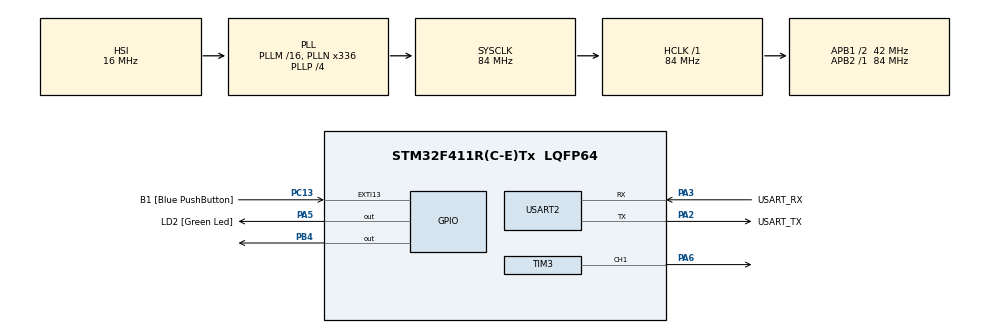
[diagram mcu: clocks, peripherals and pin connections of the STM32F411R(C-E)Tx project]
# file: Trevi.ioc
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Mcu.Family=STM32F4
Mcu.Name=STM32F411R(C-E)Tx
Mcu.Package=LQFP64
NVIC.EXTI15_10_IRQn=true\:0\:0\:false\:false\:true\:true\:true\:true
NVIC.PriorityGroup=NVIC_PRIORITYGROUP_4
NVIC.TIM2_IRQn=true\:0\:0\:false\:false\:true\:true\:true\:true
NVIC.TIM3_IRQn=true\:0\:0\:false\:false\:true\:true\:true\:true
PA13.GPIO_Label=TMS
PA13.Mode=Serial_Wire
PA13.Signal=SYS_JTMS-SWDIO
PA14.GPIO_Label=TCK
PA14.Mode=Serial_Wire
PA14.Signal=SYS_JTCK-SWCLK
PA2.GPIO_Label=USART_TX
PA2.Mode=Asynchronous
PA2.Signal=USART2_TX
PA3.GPIO_Label=USART_RX
PA3.Mode=Asynchronous
PA3.Signal=USART2_RX
PA5.GPIO_Label=LD2 [Green Led]
PA5.Signal=GPIO_Output
PA6.Signal=S_TIM3_CH1
PB3.GPIO_Label=SWO
PB3.Signal=SYS_JTDO-SWO
PB4.Signal=GPIO_Output
PC13-ANTI_TAMP.GPIO_Label=B1 [Blue PushButton]
PC13-ANTI_TAMP.GPIO_ModeDefaultEXTI=GPIO_MODE_IT_FALLING
PC13-ANTI_TAMP.Signal=GPXTI13
PC14-OSC32_IN.Mode=LSE-External-Oscillator
PC14-OSC32_IN.Signal=RCC_OSC32_IN
PC15-OSC32_OUT.Mode=LSE-External-Oscillator
PC15-OSC32_OUT.Signal=RCC_OSC32_OUT
PH0\ -\ OSC_IN.Mode=HSE-External-Clock-Source
PH0\ -\ OSC_IN.Signal=RCC_OSC_IN
PH1\ -\ OSC_OUT.Mode=HSE-External-Clock-Source
PH1\ -\ OSC_OUT.Signal=RCC_OSC_OUT
ProjectManager.HeapSize=0x200
ProjectManager.StackSize=0x400
ProjectManager.TargetToolchain=STM32CubeIDE
RCC.48MHZClocksFreq_Value=84000000
RCC.AHBFreq_Value=84000000
RCC.APB1CLKDivider=RCC_HCLK_DIV2
RCC.APB1Freq_Value=42000000
RCC.APB1TimFreq_Value=84000000
RCC.APB2Freq_Value=84000000
RCC.APB2TimFreq_Value=84000000
RCC.CortexFreq_Value=84000000
RCC.FLatency-AdvancedSettings=FLASH_LATENCY_2
RCC.HCLKFreq_Value=84000000
RCC.HSE_VALUE=8000000
RCC.HSI_VALUE=16000000
RCC.PLLN=336
RCC.PLLP=RCC_PLLP_DIV4
RCC.SYSCLKFreq_VALUE=84000000
RCC.SYSCLKSource=RCC_SYSCLKSOURCE_PLLCLK
RCC.VCOOutputFreq_Value=336000000
SH.S_TIM3_CH1.0=TIM3_CH1,PWM Generation1 CH1
TIM2.Channel-PWM\ Generation1\ No\ Output=TIM_CHANNEL_1
TIM2.Period=100000-1
TIM2.Prescaler=8400-1
TIM3.Channel-PWM\ Generation1\ CH1=TIM_CHANNEL_1
TIM3.Period=100-1
TIM3.Prescaler=8400-1
TIM3.TIM_MasterOutputTrigger=TIM_TRGO_RESET
USART2.VirtualMode=VM_ASYNC
VP_TIM2_VS_ClockSourceINT.Mode=Internal
VP_TIM2_VS_no_output1.Mode=PWM Generation1 No Output
VP_TIM3_VS_ClockSourceINT.Mode=Internal
board=NUCLEO-F411RE

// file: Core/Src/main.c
/* USER CODE BEGIN Header */
/**
  ******************************************************************************
  * @file           : main.c
  * @brief          : Main program body
  ******************************************************************************
  * @attention
  *
  * Copyright (c) 2024 STMicroelectronics.
  * All rights reserved.
  *
  * This software is licensed under terms that can be found in the LICENSE file
  * in the root directory of this software component.
  * If no LICENSE file comes with this software, it is provided AS-IS.
  *
  ******************************************************************************
  */
/* USER CODE END Header */
#include "main.h"

/* USER CODE BEGIN Includes */
#include "stdbool.h"
/* USER CODE END Includes */

TIM_HandleTypeDef htim2;
TIM_HandleTypeDef htim3;

UART_HandleTypeDef huart2;

/* USER CODE BEGIN PV */
volatile bool go = false;
/* USER CODE END PV */

void SystemClock_Config(void);
static void MX_GPIO_Init(void);
static void MX_USART2_UART_Init(void);
static void MX_TIM3_Init(void);
static void MX_TIM2_Init(void);

int main(void)
{

  /* MCU Configuration--------------------------------------------------------*/

  /* Reset of all peripherals, Initializes the Flash interface and the Systick. */
  HAL_Init();

  /* Configure the system clock */
  SystemClock_Config();

  /* Initialize all configured peripherals */
  MX_GPIO_Init();
  MX_USART2_UART_Init();
  MX_TIM3_Init();
  MX_TIM2_Init();
  /* USER CODE BEGIN 2 */
  htim3.Instance->CCR1 = 50;
  HAL_TIM_PWM_Start_IT(&htim3, TIM_CHANNEL_1);
  bool go_before = false;
  go = true;
  /* USER CODE END 2 */

  /* Infinite loop */
  /* USER CODE BEGIN WHILE */
  while (1)
  {
	  if(go_before != go)
	  {
		  htim2.Instance->CCR1 = 50000;
		  HAL_TIM_PWM_Start_IT(&htim2, TIM_CHANNEL_1);
		  go_before = go;
	  }
    /* USER CODE END WHILE */

  }
}

void SystemClock_Config(void)
{
  RCC_OscInitTypeDef RCC_OscInitStruct = {0};
  RCC_ClkInitTypeDef RCC_ClkInitStruct = {0};

  /** Configure the main internal regulator output voltage
  */
  __HAL_RCC_PWR_CLK_ENABLE();
  __HAL_PWR_VOLTAGESCALING_CONFIG(PWR_REGULATOR_VOLTAGE_SCALE1);

  /** Initializes the RCC Oscillators according to the specified parameters
  * in the RCC_OscInitTypeDef structure.
  */
  RCC_OscInitStruct.OscillatorType = RCC_OSCILLATORTYPE_HSI;
  RCC_OscInitStruct.HSIState = RCC_HSI_ON;
  RCC_OscInitStruct.HSICalibrationValue = RCC_HSICALIBRATION_DEFAULT;
  RCC_OscInitStruct.PLL.PLLState = RCC_PLL_ON;
  RCC_OscInitStruct.PLL.PLLSource = RCC_PLLSOURCE_HSI;
  RCC_OscInitStruct.PLL.PLLM = 16;
  RCC_OscInitStruct.PLL.PLLN = 336;
  RCC_OscInitStruct.PLL.PLLP = RCC_PLLP_DIV4;
  RCC_OscInitStruct.PLL.PLLQ = 4;
  if (HAL_RCC_OscConfig(&RCC_OscInitStruct) != HAL_OK)
  {
    Error_Handler();
  }

  /** Initializes the CPU, AHB and APB buses clocks
  */
  RCC_ClkInitStruct.ClockType = RCC_CLOCKTYPE_HCLK|RCC_CLOCKTYPE_SYSCLK
                              |RCC_CLOCKTYPE_PCLK1|RCC_CLOCKTYPE_PCLK2;
  RCC_ClkInitStruct.SYSCLKSource = RCC_SYSCLKSOURCE_PLLCLK;
  RCC_ClkInitStruct.AHBCLKDivider = RCC_SYSCLK_DIV1;
  RCC_ClkInitStruct.APB1CLKDivider = RCC_HCLK_DIV2;
  RCC_ClkInitStruct.APB2CLKDivider = RCC_HCLK_DIV1;

  if (HAL_RCC_ClockConfig(&RCC_ClkInitStruct, FLASH_LATENCY_2) != HAL_OK)
  {
    Error_Handler();
  }
}

static void MX_TIM2_Init(void)
{

  TIM_ClockConfigTypeDef sClockSourceConfig = {0};
  TIM_MasterConfigTypeDef sMasterConfig = {0};
  TIM_OC_InitTypeDef sConfigOC = {0};

  htim2.Instance = TIM2;
  htim2.Init.Prescaler = 8400-1;
  htim2.Init.CounterMode = TIM_COUNTERMODE_UP;
  htim2.Init.Period = 100000-1;
  htim2.Init.ClockDivision = TIM_CLOCKDIVISION_DIV1;
  htim2.Init.AutoReloadPreload = TIM_AUTORELOAD_PRELOAD_DISABLE;
  if (HAL_TIM_Base_Init(&htim2) != HAL_OK)
  {
    Error_Handler();
  }
  sClockSourceConfig.ClockSource = TIM_CLOCKSOURCE_INTERNAL;
  if (HAL_TIM_ConfigClockSource(&htim2, &sClockSourceConfig) != HAL_OK)
  {
    Error_Handler();
  }
  if (HAL_TIM_PWM_Init(&htim2) != HAL_OK)
  {
    Error_Handler();
  }
  sMasterConfig.MasterOutputTrigger = TIM_TRGO_RESET;
  sMasterConfig.MasterSlaveMode = TIM_MASTERSLAVEMODE_DISABLE;
  if (HAL_TIMEx_MasterConfigSynchronization(&htim2, &sMasterConfig) != HAL_OK)
  {
    Error_Handler();
  }
  sConfigOC.OCMode = TIM_OCMODE_PWM1;
  sConfigOC.Pulse = 0;
  sConfigOC.OCPolarity = TIM_OCPOLARITY_HIGH;
  sConfigOC.OCFastMode = TIM_OCFAST_DISABLE;
  if (HAL_TIM_PWM_ConfigChannel(&htim2, &sConfigOC, TIM_CHANNEL_1) != HAL_OK)
  {
    Error_Handler();
  }

}

static void MX_TIM3_Init(void)
{

  TIM_ClockConfigTypeDef sClockSourceConfig = {0};
  TIM_MasterConfigTypeDef sMasterConfig = {0};
  TIM_OC_InitTypeDef sConfigOC = {0};

  htim3.Instance = TIM3;
  htim3.Init.Prescaler = 8400-1;
  htim3.Init.CounterMode = TIM_COUNTERMODE_UP;
  htim3.Init.Period = 100-1;
  htim3.Init.ClockDivision = TIM_CLOCKDIVISION_DIV1;
  htim3.Init.AutoReloadPreload = TIM_AUTORELOAD_PRELOAD_DISABLE;
  if (HAL_TIM_Base_Init(&htim3) != HAL_OK)
  {
    Error_Handler();
  }
  sClockSourceConfig.ClockSource = TIM_CLOCKSOURCE_INTERNAL;
  if (HAL_TIM_ConfigClockSource(&htim3, &sClockSourceConfig) != HAL_OK)
  {
    Error_Handler();
  }
  if (HAL_TIM_PWM_Init(&htim3) != HAL_OK)
  {
    Error_Handler();
  }
  sMasterConfig.MasterOutputTrigger = TIM_TRGO_RESET;
  sMasterConfig.MasterSlaveMode = TIM_MASTERSLAVEMODE_DISABLE;
  if (HAL_TIMEx_MasterConfigSynchronization(&htim3, &sMasterConfig) != HAL_OK)
  {
    Error_Handler();
  }
  sConfigOC.OCMode = TIM_OCMODE_PWM1;
  sConfigOC.Pulse = 0;
  sConfigOC.OCPolarity = TIM_OCPOLARITY_HIGH;
  sConfigOC.OCFastMode = TIM_OCFAST_DISABLE;
  if (HAL_TIM_PWM_ConfigChannel(&htim3, &sConfigOC, TIM_CHANNEL_1) != HAL_OK)
  {
    Error_Handler();
  }
  HAL_TIM_MspPostInit(&htim3);

}

static void MX_USART2_UART_Init(void)
{

  huart2.Instance = USART2;
  huart2.Init.BaudRate = 115200;
  huart2.Init.WordLength = UART_WORDLENGTH_8B;
  huart2.Init.StopBits = UART_STOPBITS_1;
  huart2.Init.Parity = UART_PARITY_NONE;
  huart2.Init.Mode = UART_MODE_TX_RX;
  huart2.Init.HwFlowCtl = UART_HWCONTROL_NONE;
  huart2.Init.OverSampling = UART_OVERSAMPLING_16;
  if (HAL_UART_Init(&huart2) != HAL_OK)
  {
    Error_Handler();
  }

}

static void MX_GPIO_Init(void)
{
  GPIO_InitTypeDef GPIO_InitStruct = {0};

  /* GPIO Ports Clock Enable */
  __HAL_RCC_GPIOC_CLK_ENABLE();
  __HAL_RCC_GPIOH_CLK_ENABLE();
  __HAL_RCC_GPIOA_CLK_ENABLE();
  __HAL_RCC_GPIOB_CLK_ENABLE();

  /*Configure GPIO pin Output Level */
  HAL_GPIO_WritePin(LD2_GPIO_Port, LD2_Pin, GPIO_PIN_RESET);

  /*Configure GPIO pin Output Level */
  HAL_GPIO_WritePin(GPIOB, GPIO_PIN_4, GPIO_PIN_RESET);

  /*Configure GPIO pin : B1_Pin */
  GPIO_InitStruct.Pin = B1_Pin;
  GPIO_InitStruct.Mode = GPIO_MODE_IT_FALLING;
  GPIO_InitStruct.Pull = GPIO_NOPULL;
  HAL_GPIO_Init(B1_GPIO_Port, &GPIO_InitStruct);

  /*Configure GPIO pin : LD2_Pin */
  GPIO_InitStruct.Pin = LD2_Pin;
  GPIO_InitStruct.Mode = GPIO_MODE_OUTPUT_PP;
  GPIO_InitStruct.Pull = GPIO_NOPULL;
  GPIO_InitStruct.Speed = GPIO_SPEED_FREQ_LOW;
  HAL_GPIO_Init(LD2_GPIO_Port, &GPIO_InitStruct);

  /*Configure GPIO pin : PB4 */
  GPIO_InitStruct.Pin = GPIO_PIN_4;
  GPIO_InitStruct.Mode = GPIO_MODE_OUTPUT_PP;
  GPIO_InitStruct.Pull = GPIO_NOPULL;
  GPIO_InitStruct.Speed = GPIO_SPEED_FREQ_LOW;
  HAL_GPIO_Init(GPIOB, &GPIO_InitStruct);

  /* EXTI interrupt init*/
  HAL_NVIC_SetPriority(EXTI15_10_IRQn, 0, 0);
  HAL_NVIC_EnableIRQ(EXTI15_10_IRQn);

}

/* USER CODE BEGIN 4 */
void HAL_TIM_PWM_PulseFinishedCallback(TIM_HandleTypeDef *htim)
{
	if(htim->Instance == TIM3)
	{
		if(HAL_GPIO_ReadPin(B1_GPIO_Port, B1_Pin)!=GPIO_PIN_RESET && go) HAL_GPIO_WritePin(GPIOB, GPIO_PIN_4, GPIO_PIN_SET);
	}
	else if(htim->Instance == TIM2)
	{
		go = !go;
		if(!go) HAL_GPIO_WritePin(GPIOB, GPIO_PIN_4, GPIO_PIN_RESET);
		else if(go) HAL_GPIO_WritePin(GPIOB, GPIO_PIN_4, GPIO_PIN_SET);
		TIM2->EGR |= (1 << 0); // Bit 0: UG
		HAL_TIM_PWM_Stop(&htim2, TIM_CHANNEL_1);
	}
}

void HAL_GPIO_EXTI_Callback(uint16_t GPIO_Pin)
{
	if (GPIO_Pin == B1_Pin)
  {
		if(go) HAL_GPIO_WritePin(GPIOB, GPIO_PIN_4, GPIO_PIN_RESET);
  }
}
/* USER CODE END 4 */

void Error_Handler(void)
{
  __disable_irq();
  while (1)
  {
  }
}
